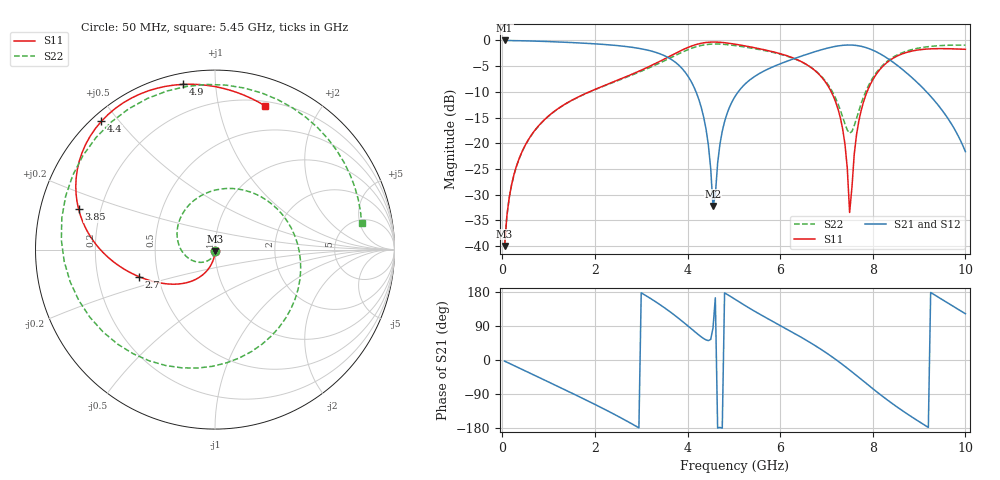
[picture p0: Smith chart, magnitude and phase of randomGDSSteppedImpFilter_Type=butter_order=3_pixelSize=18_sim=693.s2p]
! freq	dB(S11)	phase(S11)	dB(S12)	phase(S12)
!  dB(S21)	phase(S21)	dB(S22)	phase(S22)
!S-par simulation data
#  GHz  S  DB  R 50
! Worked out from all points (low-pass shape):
!   200 points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, 50 MHz to 10 GHz, reference 50 ohm
!   highest |S21| = -0.01 dB at 50 MHz (marker M1); lowest = -32.2 dB at 4.55 GHz (marker M2)
!   |S21| within 3 dB of the highest: start of sweep to 3.51 GHz; 6.473 GHz to 8.234 GHz (1.76 GHz wide, 23.9 % of centre)
!   lowest |S11| = -40.0 dB at 50 MHz (marker M3), VSWR 1.02, Z = 50 - j1 ohm
!   |S11| at or under -10 dB: start of sweep to 1.879 GHz; 7.104 GHz to 7.877 GHz (772.7 MHz wide, 10.3 % of centre)
!   |S22| runs from -40.0 to -0.7 dB; largest |S21 - S12| = 0
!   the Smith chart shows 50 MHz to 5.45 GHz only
!   S11 on the Smith chart (normalised r, x): 50 MHz: 1.00, -0.02; 2.7 GHz: 0.39, -0.15; 3.85 GHz: 0.12, +0.14; 4.4 GHz: 0.03, +0.45; 4.9 GHz: 0.05, +0.82; 5.45 GHz: 0.24, +1.38
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0.05  -39.98 -90.7  -0.01 -3.0  -0.01 -3.0  -40.02 -93.5
0.2  -28.09 -96.3  -0.03 -11.7  -0.03 -11.7  -28.13 -107.1
0.5  -20.30 -106.0  -0.08 -29.1  -0.08 -29.1  -20.35 -133.2
1.75  -10.52 -139.7  -0.53 -102.1  -0.53 -102.1  -10.55 114.0
2.7  -6.95 -160.4  -1.22 -161.8  -1.22 -161.8  -7.09 15.5
3.4  -4.07 -178.7  -2.59 146.5  -2.59 146.5  -4.39 -70.3
3.85  -2.01 163.4  -5.16 105.7  -5.16 105.7  -2.43 -135.8
4.15  -0.89 147.0  -9.29 75.3  -9.29 75.3  -1.33 176.4
4.4  -0.40 131.5  -17.27 52.9  -17.27 52.9  -0.81 136.7
4.55  -0.31 122.0  -32.21 84.4  -32.21 84.4  -0.70 114.1
4.9  -0.56 101.0  -13.12 169.8  -13.12 169.8  -0.86 67.2
5.05  -0.76 92.6  -10.56 158.2  -10.56 158.2  -1.03 49.9
5.45  -1.43 71.0  -7.00 128.6  -7.00 128.6  -1.61 10.4
6.1  -2.84 34.0  -4.20 84.3  -4.20 84.3  -2.93 -40.1
6.7  -5.48 -7.4  -2.33 42.2  -2.33 42.2  -5.46 -79.2
7.3  -15.05 -64.1  -1.00 -7.6  -1.00 -7.6  -13.55 -101.4
7.5  -33.47 -137.1  -0.89 -26.4  -0.89 -26.4  -18.05 -67.5
7.75  -13.59 78.7  -1.14 -51.0  -1.14 -51.0  -12.24 -26.2
8.35  -3.99 8.9  -3.68 -108.6  -3.68 -108.6  -3.79 -53.3
8.75  -2.28 -33.5  -6.47 -142.8  -6.47 -142.8  -2.02 -76.8
9.25  -1.63 -85.3  -10.87 178.2  -10.87 178.2  -1.15 -102.6
10  -1.72 -168.6  -21.62 122.1  -21.62 122.1  -0.91 -136.9
